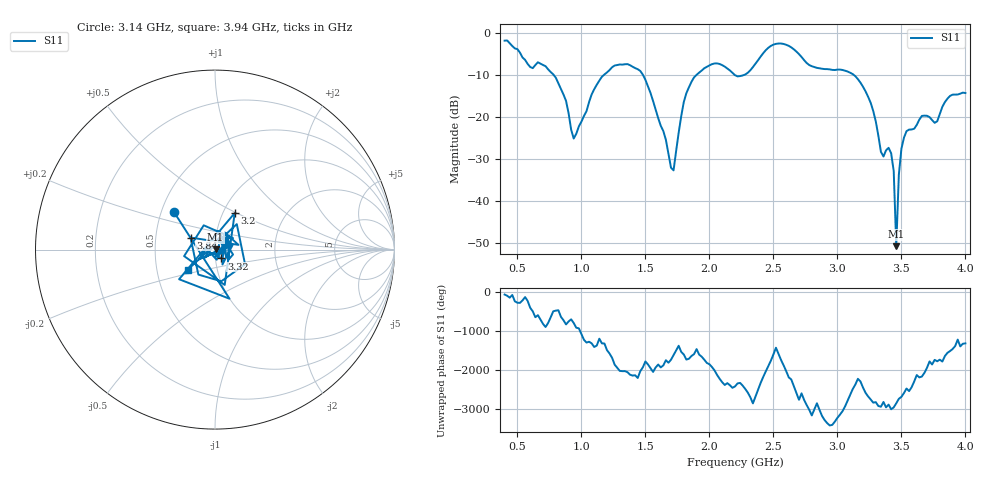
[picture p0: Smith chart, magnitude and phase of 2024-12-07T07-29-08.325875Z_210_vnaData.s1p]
!Created with skrf (http://scikit-rf.org).
# Hz S RI R 50.0
!freq ReS11 ImS11
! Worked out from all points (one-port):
!   181 points, 400 MHz to 4 GHz, reference 50 ohm
!   lowest |S11| = -50.7 dB at 3.46 GHz (marker M1), VSWR 1.01, Z = 50.3 + j0.0846 ohm
!   |S11| at or under -10 dB: 786.1 MHz to 1.172 GHz (385.9 MHz wide, 39.4 % of centre); 1.483 GHz to 1.896 GHz (412.8 MHz wide, 24.4 % of centre); 3.132 GHz to end of sweep (the widest 3 of 4)
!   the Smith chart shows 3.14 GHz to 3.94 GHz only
!   S11 on the Smith chart (normalised r, x): 3.14 GHz: 0.58, +0.27; 3.2 GHz: 1.14, +0.49; 3.32 GHz: 1.07, -0.11; 3.84 GHz: 0.75, +0.10; 3.94 GHz: 0.72, -0.17
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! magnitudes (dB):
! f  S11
! 400 MHz  -1.7
! 860 MHz  -14.6
! 940 MHz  -25.0
! 1.12 GHz  -12.2
! 1.3 GHz  -7.4
! 1.5 GHz  -11.0
! 1.7 GHz  -32.0
! 1.72 GHz  -32.6
! 1.76 GHz  -23.6
! 1.88 GHz  -10.5
! 2.2 GHz  -10.0
! 2.5 GHz  -2.7
! 2.66 GHz  -3.8
! 3.1 GHz  -9.4
! 3.14 GHz  -10.2
! 3.2 GHz  -12.7
! 3.32 GHz  -24.4
! 3.36 GHz  -29.3
! 3.42 GHz  -28.6
! 3.44 GHz  -32.8
! 3.46 GHz  -50.7
! 3.48 GHz  -33.7
! 3.5 GHz  -27.5
! 3.56 GHz  -22.9
! 3.78 GHz  -20.9
! 3.84 GHz  -16.4
! 3.94 GHz  -14.6
! 4 GHz  -14.2
